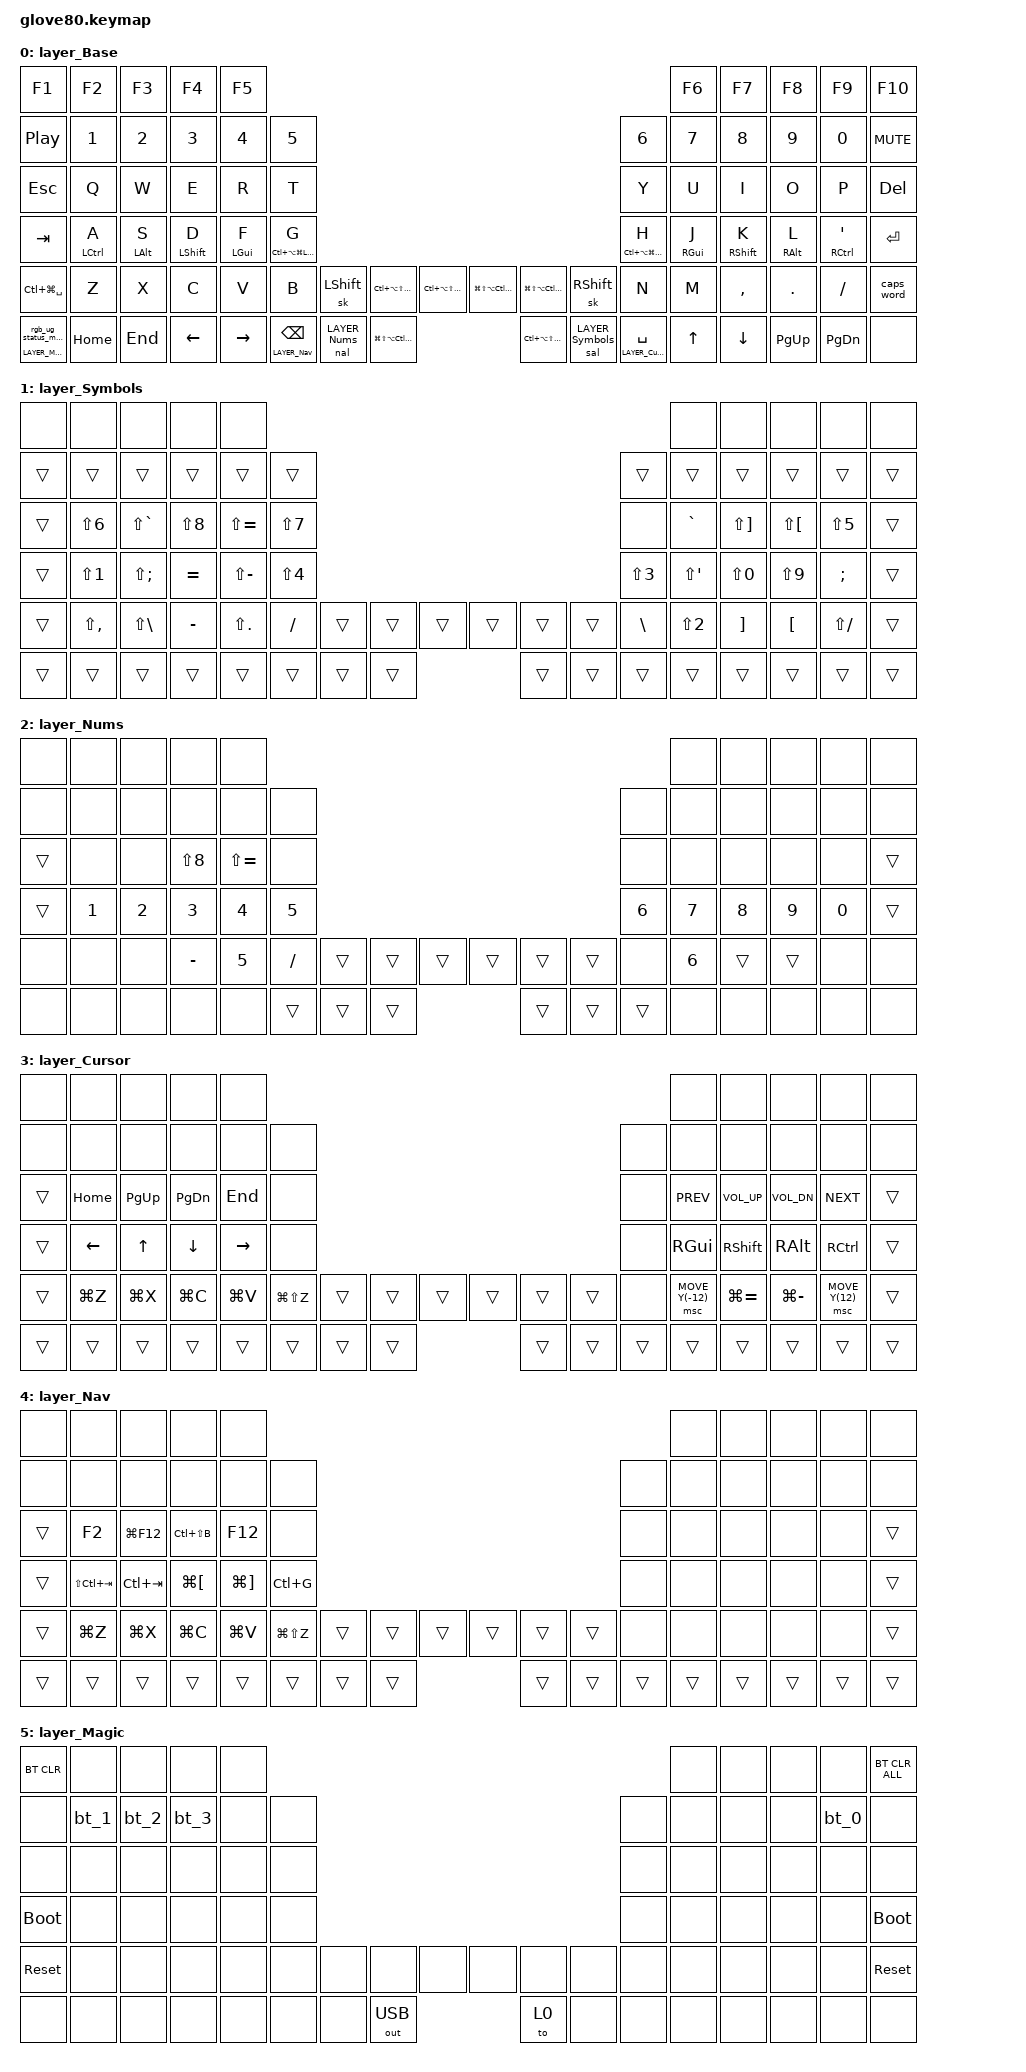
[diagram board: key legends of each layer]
/*
 * Copyright (c) 2020 The ZMK Contributors
 * Copyright (c) 2025 Innaworks Development Limited, trading as MoErgo
 *
 * SPDX-License-Identifier: MIT
 */


/* THIS FILE WAS GENERATED BY GLOVE80 LAYOUT EDITOR
 *
 * This file was generated automatically. You may or may not want to
 * edit it directly.
 */

#include <behaviors.dtsi>
/* Include all behavior includes needed */
#include <dt-bindings/zmk/outputs.h>
#include <dt-bindings/zmk/keys.h>
#include <dt-bindings/zmk/bt.h>
#include <dt-bindings/zmk/rgb.h>

/* On demand includes */
#include <dt-bindings/zmk/pointing.h>

/* Helper Macros, based on https://github.com/urob/zmk-helpers/ */

#pragma once

#define ZMK_HELPER_STRINGIFY(x) #x

// Preprocessor mechanism to overload macros, cf. https://stackoverflow.com/a/27051616/6114651
#define VARGS_(_10, _9, _8, _7, _6, _5, _4, _3, _2, _1, N, ...) N
#define VARGS(...) VARGS_(__VA_ARGS__, 10, 9, 8, 7, 6, 5, 4, 3, 2, 1, 0)
#define CONCAT_(a, b) a##b
#define CONCAT(a, b) CONCAT_(a, b)

#define ZMK_BEHAVIOR_CORE_tap_dance  \
    compatible = "zmk,behavior-tap-dance"; \
    #binding-cells = <0>

#define ZMK_BEHAVIOR(name, type, ...) \
    name: name { \
        ZMK_BEHAVIOR_CORE_ ## type; \
        __VA_ARGS__ \
    };

#define ZMK_TAP_DANCE(name, ...) \
    ZMK_BEHAVIOR(name, tap_dance, __VA_ARGS__)

#define ZMK_TD_LAYER(name, layer) \
    ZMK_TAP_DANCE(name, \
        tapping-term-ms = <200>; \
        bindings = <&mo layer>, <&to layer>; \
)

/* Environment and metadata defines */
#define KB_TYPE_GLOVE_80 1
#define KB_TYPE_GO_60    2

#define KB_TYPE          KB_TYPE_GLOVE_80
#define EDITOR_HOST_OS   'M'

/* Automatically generated layer name defines */
#define LAYER_Base 0
#define LAYER_Symbols 1
#define LAYER_Nums 2
#define LAYER_Cursor 3
#define LAYER_Nav 4
#define LAYER_Magic 5

/* To deal with the situation where there is no Lower layer, to keep &lower happy */
#ifndef LAYER_Lower
#define LAYER_Lower 0
#endif

/* Custom Device-tree */
&sl {
  release-after-ms = <200>;
};

&msc {
  x-input-code = <INPUT_REL_HWHEEL>;
  y-input-code = <INPUT_REL_WHEEL>;
  time-to-max-speed-ms = <0>;
  acceleration-exponent = <1>;
};

/* Input Listeners */


/* System behavior and Macros */
/ {
    behaviors {
        ZMK_TD_LAYER(lower, LAYER_Lower)
    };
};

/ {
    macros {
        rgb_ug_status_macro: rgb_ug_status_macro {
            label = "RGB_UG_STATUS";
            compatible = "zmk,behavior-macro";
            #binding-cells = <0>;
            bindings
                = <&rgb_ug RGB_STATUS>;
        };
    };
};


/ {
#ifdef BT_DISC_CMD
    behaviors {
        bt_0: bt_0 {
            compatible = "zmk,behavior-tap-dance";
            label = "BT_0";
            #binding-cells = <0>;
            tapping-term-ms = <200>;
            bindings = <&bt_select_0>, <&bt BT_DISC 0>;
        };
        bt_1: bt_1 {
            compatible = "zmk,behavior-tap-dance";
            label = "BT_1";
            #binding-cells = <0>;
            tapping-term-ms = <200>;
            bindings = <&bt_select_1>, <&bt BT_DISC 1>;
        };
        bt_2: bt_2 {
            compatible = "zmk,behavior-tap-dance";
            label = "BT_2";
            #binding-cells = <0>;
            tapping-term-ms = <200>;
            bindings = <&bt_select_2>, <&bt BT_DISC 2>;
        };
        bt_3: bt_3 {
            compatible = "zmk,behavior-tap-dance";
            label = "BT_3";
            #binding-cells = <0>;
            tapping-term-ms = <200>;
            bindings = <&bt_select_3>, <&bt BT_DISC 3>;
        };
    };
    macros {
        bt_select_0: bt_select_0 {
            label = "BT_SELECT_0";
            compatible = "zmk,behavior-macro";
            #binding-cells = <0>;
            bindings
                = <&out OUT_BLE>,
                  <&bt BT_SEL 0>;
        };
        bt_select_1: bt_select_1 {
            label = "BT_SELECT_1";
            compatible = "zmk,behavior-macro";
            #binding-cells = <0>;
            bindings
                = <&out OUT_BLE>,
                  <&bt BT_SEL 1>;
        };
        bt_select_2: bt_select_2 {
            label = "BT_SELECT_2";
            compatible = "zmk,behavior-macro";
            #binding-cells = <0>;
            bindings
                = <&out OUT_BLE>,
                  <&bt BT_SEL 2>;
        };
        bt_select_3: bt_select_3 {
            label = "BT_SELECT_3";
            compatible = "zmk,behavior-macro";
            #binding-cells = <0>;
            bindings
                = <&out OUT_BLE>,
                  <&bt BT_SEL 3>;
        };
    };
#else
    macros {
        bt_0: bt_0 {
            label = "BT_0";
            compatible = "zmk,behavior-macro";
            #binding-cells = <0>;
            bindings
                = <&out OUT_BLE>,
                  <&bt BT_SEL 0>;
        };
        bt_1: bt_1 {
            label = "BT_1";
            compatible = "zmk,behavior-macro";
            #binding-cells = <0>;
            bindings
                = <&out OUT_BLE>,
                  <&bt BT_SEL 1>;
        };
        bt_2: bt_2 {
            label = "BT_2";
            compatible = "zmk,behavior-macro";
            #binding-cells = <0>;
            bindings
                = <&out OUT_BLE>,
                  <&bt BT_SEL 2>;
        };
        bt_3: bt_3 {
            label = "BT_3";
            compatible = "zmk,behavior-macro";
            #binding-cells = <0>;
            bindings
                = <&out OUT_BLE>,
                  <&bt BT_SEL 3>;
        };
    };
#endif
};

/ {
    behaviors {
        magic: magic {
            compatible = "zmk,behavior-hold-tap";
            label = "MAGIC_HOLD_TAP";
            #binding-cells = <2>;
            flavor = "tap-preferred";
            tapping-term-ms = <200>;
            bindings = <&mo>, <&rgb_ug_status_macro>;
        };
    };
};


/* Key positions */

#define POS_LH_C6R1 0
#define POS_LH_C5R1 1
#define POS_LH_C4R1 2
#define POS_LH_C3R1 3
#define POS_LH_C2R1 4
#define POS_RH_C2R1 5
#define POS_RH_C3R1 6
#define POS_RH_C4R1 7
#define POS_RH_C5R1 8
#define POS_RH_C6R1 9
#define POS_LH_C6R2 10
#define POS_LH_C5R2 11
#define POS_LH_C4R2 12
#define POS_LH_C3R2 13
#define POS_LH_C2R2 14
#define POS_LH_C1R2 15
#define POS_RH_C1R2 16
#define POS_RH_C2R2 17
#define POS_RH_C3R2 18
#define POS_RH_C4R2 19
#define POS_RH_C5R2 20
#define POS_RH_C6R2 21
#define POS_LH_C6R3 22
#define POS_LH_C5R3 23
#define POS_LH_C4R3 24
#define POS_LH_C3R3 25
#define POS_LH_C2R3 26
#define POS_LH_C1R3 27
#define POS_RH_C1R3 28
#define POS_RH_C2R3 29
#define POS_RH_C3R3 30
#define POS_RH_C4R3 31
#define POS_RH_C5R3 32
#define POS_RH_C6R3 33
#define POS_LH_C6R4 34
#define POS_LH_C5R4 35
#define POS_LH_C4R4 36
#define POS_LH_C3R4 37
#define POS_LH_C2R4 38
#define POS_LH_C1R4 39
#define POS_RH_C1R4 40
#define POS_RH_C2R4 41
#define POS_RH_C3R4 42
#define POS_RH_C4R4 43
#define POS_RH_C5R4 44
#define POS_RH_C6R4 45
#define POS_LH_C6R5 46
#define POS_LH_C5R5 47
#define POS_LH_C4R5 48
#define POS_LH_C3R5 49
#define POS_LH_C2R5 50
#define POS_LH_C1R5 51
#define POS_LH_T1 52
#define POS_LH_T2 53
#define POS_LH_T3 54
#define POS_RH_T3 55
#define POS_RH_T2 56
#define POS_RH_T1 57
#define POS_RH_C1R5 58
#define POS_RH_C2R5 59
#define POS_RH_C3R5 60
#define POS_RH_C4R5 61
#define POS_RH_C5R5 62
#define POS_RH_C6R5 63
#define POS_LH_C6R6 64
#define POS_LH_C5R6 65
#define POS_LH_C4R6 66
#define POS_LH_C3R6 67
#define POS_LH_C2R6 68
#define POS_LH_T4 69
#define POS_LH_T5 70
#define POS_LH_T6 71
#define POS_RH_T6 72
#define POS_RH_T5 73
#define POS_RH_T4 74
#define POS_RH_C2R6 75
#define POS_RH_C3R6 76
#define POS_RH_C4R6 77
#define POS_RH_C5R6 78
#define POS_RH_C6R6 79


/* Custom Defined Behaviors */
/ {
behaviors {
        skq: sticky_key_quick_release {
          compatible = "zmk,behavior-sticky-key";
          #binding-cells = <1>;
          bindings = <&kp>;
          release-after-ms = <200>;
          quick-release;
          ignore-modifiers;
      };

        swc: shift_word_caps {
            compatible = "zmk,behavior-tap-dance";
            #binding-cells = <0>;
            tapping-term-ms = <300>;
            bindings = <&skq LSHFT>, <&caps_word>;
        };

        nal: nums_auto_layer {
            compatible = "zmk,behavior-auto-layer";
            label = "NUMS_AUTO_LAYER";
            #binding-cells = <1>;
            continue-list = <N0 N1 N2 N3 N4 N5 N6 N7 N8 N9 DOT COMMA PLUS MINUS STAR FSLH EQUAL>;
            ignore-modifiers;
        };

        sal: symbols_auto_layer {
            compatible = "zmk,behavior-auto-layer";
            label = "SYMBOLS_AUTO_LAYER";
            #binding-cells = <1>;
            continue-list = <CARET TILDE STAR PLUS AMPERSAND GRAVE RBKT LBKT PERCENT EXCL COLON EQUAL UNDERSCORE DOLLAR POUND DQT LPAR RPAR SEMI LT PIPE MINUS GT FSLH BSLH AT LBKT RBKT QMARK>;
            ignore-modifiers;
        };

    };
};

/* Generated input processors */


/* Automatically generated macro definitions */
/ {
    macros {

        // copy line
        cl: cl {
            label = "&CL";
            compatible = "zmk,behavior-macro";
            #binding-cells = <0>;
            tap-ms = <1>;
            wait-ms = <1>;
            bindings = <&kp LG(RIGHT)>
                , <&kp LG(LS(LEFT))>
                , <&kp LG(C)>;
        };

        // cut line
        xl: xl {
            label = "&XL";
            compatible = "zmk,behavior-macro";
            #binding-cells = <0>;
            tap-ms = <1>;
            wait-ms = <1>;
            bindings = <&kp LG(RIGHT)>
                , <&kp LG(LS(LEFT))>
                , <&kp LG(LS(LEFT))>
                , <&kp LG(X)>;
        };

        // paste on next line
        pnl: pnl {
            label = "&PNL";
            compatible = "zmk,behavior-macro";
            #binding-cells = <0>;
            tap-ms = <1>;
            wait-ms = <1>;
            bindings = <&kp LG(RIGHT)>
                , <&kp RET>
                , <&kp LG(V)>;
        };
    };
};

/* Automatically generated behavior definitions */
/ {
    behaviors {

        // Layer tap dance behaviors

        ZMK_TD_LAYER(td_LAYER_Symbols, 1)
        ZMK_TD_LAYER(td_LAYER_Nums, 2)

        // Home row mods on left hand
        hrml: hrml {
            compatible = "zmk,behavior-hold-tap";
            #binding-cells = <2>;
            tapping-term-ms = <300>;
            bindings = <&kp>, <&kp>;
            flavor = "balanced";
            quick-tap-ms = <200>;
            require-prior-idle-ms = <150>;
            hold-trigger-key-positions = <POS_RH_C2R1 POS_RH_C3R1 POS_RH_C4R1 POS_RH_C5R1 POS_RH_C6R1 POS_RH_C6R2 POS_RH_C5R2 POS_RH_C4R2 POS_RH_C3R2 POS_RH_C1R2 POS_RH_C2R2 POS_RH_C1R3 POS_RH_C2R3 POS_RH_C3R3 POS_RH_C3R4 POS_RH_C2R4 POS_RH_C1R4 POS_RH_C1R5 POS_RH_T1 POS_RH_T2 POS_RH_T3 POS_RH_T6 POS_RH_T5 POS_RH_T4 POS_RH_C2R6 POS_RH_C3R6 POS_RH_C4R6 POS_RH_C5R6 POS_RH_C6R6 POS_RH_C6R5 POS_RH_C6R4 POS_RH_C6R3 POS_RH_C5R3 POS_RH_C4R3 POS_RH_C4R4 POS_RH_C5R4 POS_RH_C5R5 POS_RH_C4R5 POS_RH_C3R5 POS_RH_C2R5>;
            hold-trigger-on-release;
        };

        // Home row mods on right hand
        hrmr: hrmr {
            compatible = "zmk,behavior-hold-tap";
            #binding-cells = <2>;
            tapping-term-ms = <300>;
            bindings = <&kp>, <&kp>;
            flavor = "balanced";
            quick-tap-ms = <200>;
            require-prior-idle-ms = <150>;
            hold-while-undecided;
            hold-trigger-key-positions = <POS_LH_C6R1 POS_LH_C5R1 POS_LH_C4R1 POS_LH_C3R1 POS_LH_C2R1 POS_LH_C1R2 POS_LH_C2R2 POS_LH_C3R2 POS_LH_C4R2 POS_LH_C5R2 POS_LH_C6R2 POS_LH_C6R3 POS_LH_C5R3 POS_LH_C5R4 POS_LH_C6R4 POS_LH_C6R5 POS_LH_C5R5 POS_LH_C5R6 POS_LH_C6R6 POS_LH_C4R6 POS_LH_C3R6 POS_LH_C2R6 POS_LH_C1R5 POS_LH_C2R5 POS_LH_C3R5 POS_LH_C4R5 POS_LH_C4R4 POS_LH_C4R3 POS_LH_C3R3 POS_LH_C2R3 POS_LH_C1R3 POS_LH_C1R4 POS_LH_C2R4 POS_LH_C3R4 POS_LH_T1 POS_LH_T2 POS_LH_T3 POS_LH_T6 POS_LH_T5 POS_LH_T4>;
            hold-trigger-on-release;
        };

        // thumb nav layer hold
        tnh: tnh {
            compatible = "zmk,behavior-hold-tap";
            #binding-cells = <2>;
            tapping-term-ms = <180>;
            bindings = <&mo>, <&kp>;
            flavor = "balanced";
            quick-tap-ms = <250>;
            require-prior-idle-ms = <80>;
            hold-while-undecided;
            hold-trigger-on-release;
        };

        // thumb symbol layer hold
        tsh: tsh {
            compatible = "zmk,behavior-hold-tap";
            #binding-cells = <2>;
            tapping-term-ms = <180>;
            bindings = <&mo>, <&kp>;
            flavor = "balanced";
            quick-tap-ms = <250>;
            hold-while-undecided;
            hold-trigger-on-release;
        };

        // home row layers on left hand
        hrll: hrll {
            compatible = "zmk,behavior-hold-tap";
            #binding-cells = <2>;
            tapping-term-ms = <300>;
            bindings = <&mo>, <&kp>;
            flavor = "balanced";
            quick-tap-ms = <200>;
            require-prior-idle-ms = <150>;
            hold-while-undecided;
            hold-trigger-key-positions = <POS_RH_C2R1 POS_RH_C3R1 POS_RH_C4R1 POS_RH_C5R1 POS_RH_C6R1 POS_RH_C6R2 POS_RH_C5R2 POS_RH_C4R2 POS_RH_C3R2 POS_RH_C1R2 POS_RH_C2R2 POS_RH_C1R3 POS_RH_C2R3 POS_RH_C3R3 POS_RH_C3R4 POS_RH_C2R4 POS_RH_C1R4 POS_RH_C1R5 POS_RH_T1 POS_RH_T2 POS_RH_T3 POS_RH_T6 POS_RH_T5 POS_RH_T4 POS_RH_C2R6 POS_RH_C3R6 POS_RH_C4R6 POS_RH_C5R6 POS_RH_C6R6 POS_RH_C6R5 POS_RH_C6R4 POS_RH_C6R3 POS_RH_C5R3 POS_RH_C4R3 POS_RH_C4R4 POS_RH_C5R4 POS_RH_C5R5 POS_RH_C4R5 POS_RH_C3R5 POS_RH_C2R5>;
            hold-trigger-on-release;
        };

        // home row layers on right hand
        hrlr: hrlr {
            compatible = "zmk,behavior-hold-tap";
            #binding-cells = <2>;
            tapping-term-ms = <300>;
            bindings = <&mo>, <&kp>;
            flavor = "balanced";
            quick-tap-ms = <200>;
            require-prior-idle-ms = <150>;
            hold-while-undecided;
            hold-trigger-key-positions = <POS_LH_C6R1 POS_LH_C5R1 POS_LH_C4R1 POS_LH_C3R1 POS_LH_C2R1 POS_LH_C1R2 POS_LH_C2R2 POS_LH_C3R2 POS_LH_C4R2 POS_LH_C5R2 POS_LH_C6R2 POS_LH_C6R3 POS_LH_C5R3 POS_LH_C5R4 POS_LH_C6R4 POS_LH_C6R5 POS_LH_C5R5 POS_LH_C5R6 POS_LH_C6R6 POS_LH_C4R6 POS_LH_C3R6 POS_LH_C2R6 POS_LH_C1R5 POS_LH_C2R5 POS_LH_C3R5 POS_LH_C4R5 POS_LH_C4R4 POS_LH_C4R3 POS_LH_C3R3 POS_LH_C2R3 POS_LH_C1R3 POS_LH_C1R4 POS_LH_C2R4 POS_LH_C3R4 POS_LH_T1 POS_LH_T2 POS_LH_T3 POS_LH_T6 POS_LH_T5 POS_LH_T4>;
            hold-trigger-on-release;
        };
    };
};

/* Automatically generated combos definitions */


/* Automatically generated keymap */
/ {
    keymap {
        compatible = "zmk,keymap";


        layer_Base {
            bindings = <
               &kp F1         &kp F2        &kp F3         &kp F4        &kp F5                                                                                                                                                                                                                        &kp F6         &kp F7        &kp F8           &kp F9     &kp F10
             &kp C_PP         &kp N1        &kp N2         &kp N3        &kp N4                     &kp N5                                                                                                                                                                               &kp N6        &kp N7         &kp N8        &kp N9           &kp N0  &kp C_MUTE
              &kp ESC          &kp Q         &kp W          &kp E         &kp R                      &kp T                                                                                                                                                                                &kp Y         &kp U          &kp I         &kp O            &kp P     &kp DEL
              &kp TAB  &hrml LCTRL A  &hrml LALT S  &hrml LSHFT D  &hrml LGUI F  &hrml LC(LA(LG(LSHFT))) G                                                                                                                                                            &hrmr LC(LA(LG(RSHFT))) H  &hrmr RGUI J  &hrmr RSHFT K  &hrmr RALT L  &hrmr RCTRL SQT     &kp RET
    &kp LC(LG(SPACE))          &kp Z         &kp X          &kp C         &kp V                      &kp B            &sk LSHFT  &kp LC(LA(LS(LG(KP_N3))))  &kp LC(LA(LS(LG(KP_N2))))  &kp LG(LS(LA(LC(KP_N5))))  &kp LG(LS(LA(LC(KP_N6))))                &sk RSHFT                      &kp N         &kp M      &kp COMMA       &kp DOT         &kp FSLH  &caps_word
 &magic LAYER_Magic 0       &kp HOME       &kp END       &kp LEFT     &kp RIGHT                             &tnh LAYER_Nav BSPC             &nal LAYER_Nums  &kp LG(LS(LA(LC(KP_N1))))  &kp LC(LA(LS(LG(KP_N4))))          &sal LAYER_Symbols  &tnh LAYER_Cursor SPACE                                   &kp UP       &kp DOWN     &kp PG_UP        &kp PG_DN       &none
            >;
        };

        layer_Symbols {
            bindings = <
  &none          &none          &none       &none          &none                                                                                         &none         &none         &none         &none   &none
 &trans         &trans         &trans      &trans         &trans      &trans                                                      &trans                &trans        &trans        &trans        &trans  &trans
 &trans     &kp LS(N6)  &kp LS(GRAVE)  &kp LS(N8)  &kp LS(EQUAL)  &kp LS(N7)                                                       &none             &kp GRAVE  &kp LS(RBKT)  &kp LS(LBKT)    &kp LS(N5)  &trans
 &trans     &kp LS(N1)   &kp LS(SEMI)   &kp EQUAL  &kp LS(MINUS)  &kp LS(N4)                                                  &kp LS(N3)  &kp LS(SINGLE_QUOTE)    &kp LS(N0)    &kp LS(N9)      &kp SEMI  &trans
 &trans  &kp LS(COMMA)   &kp LS(BSLH)   &kp MINUS    &kp LS(DOT)    &kp FSLH  &trans  &trans  &trans  &trans  &trans  &trans    &kp BSLH            &kp LS(N2)      &kp RBKT      &kp LBKT  &kp LS(FSLH)  &trans
 &trans         &trans         &trans      &trans         &trans              &trans  &trans  &trans  &trans  &trans  &trans                            &trans        &trans        &trans        &trans  &trans
            >;
        };

        layer_Nums {
            bindings = <
  &none   &none   &none       &none          &none                                                                     &none   &none   &none   &none   &none
  &none   &none   &none       &none          &none     &none                                                   &none   &none   &none   &none   &none   &none
 &trans   &none   &none  &kp LS(N8)  &kp LS(EQUAL)     &none                                                   &none   &none   &none   &none   &none  &trans
 &trans  &kp N1  &kp N2      &kp N3         &kp N4    &kp N5                                                  &kp N6  &kp N7  &kp N8  &kp N9  &kp N0  &trans
  &none   &none   &none   &kp MINUS         &kp N5  &kp FSLH  &trans  &trans  &trans  &trans  &trans  &trans   &none  &kp N6  &trans  &trans   &none   &none
  &none   &none   &none       &none          &none            &trans  &trans  &trans  &trans  &trans  &trans           &none   &none   &none   &none   &none
            >;
        };

        layer_Cursor {
            bindings = <
  &none      &none      &none      &none      &none                                                                                    &none          &none          &none            &none   &none
  &none      &none      &none      &none      &none          &none                                                   &none             &none          &none          &none            &none   &none
 &trans   &kp HOME  &kp PG_UP  &kp PG_DN    &kp END          &none                                                   &none        &kp C_PREV   &kp C_VOL_UP   &kp C_VOL_DN       &kp C_NEXT  &trans
 &trans   &kp LEFT     &kp UP   &kp DOWN  &kp RIGHT          &none                                                   &none          &kp RGUI      &kp RSHFT       &kp RALT        &kp RCTRL  &trans
 &trans  &kp LG(Z)  &kp LG(X)  &kp LG(C)  &kp LG(V)  &kp LG(LS(Z))  &trans  &trans  &trans  &trans  &trans  &trans   &none  &msc MOVE_Y(-12)  &kp LG(EQUAL)  &kp LG(MINUS)  &msc MOVE_Y(12)  &trans
 &trans     &trans     &trans     &trans     &trans                 &trans  &trans  &trans  &trans  &trans  &trans                    &trans         &trans         &trans           &trans  &trans
            >;
        };

        layer_Nav {
            bindings = <
  &none            &none        &none          &none         &none                                                                          &none   &none   &none   &none   &none
  &none            &none        &none          &none         &none          &none                                                   &none   &none   &none   &none   &none   &none
 &trans           &kp F2  &kp LG(F12)  &kp LC(LS(B))       &kp F12          &none                                                   &none   &none   &none   &none   &none  &trans
 &trans  &kp LS(LC(TAB))  &kp LC(TAB)   &kp LG(LBKT)  &kp LG(RBKT)      &kp LC(G)                                                   &none   &none   &none   &none   &none  &trans
 &trans        &kp LG(Z)    &kp LG(X)      &kp LG(C)     &kp LG(V)  &kp LG(LS(Z))  &trans  &trans  &trans  &trans  &trans  &trans   &none   &none   &none   &none   &none  &trans
 &trans           &trans       &trans         &trans        &trans                 &trans  &trans  &trans  &trans  &trans  &trans          &trans  &trans  &trans  &trans  &trans
            >;
        };

        layer_Magic {
            bindings = <
  &bt BT_CLR   &none   &none   &none   &none                                                                         &none   &none   &none   &none  &bt BT_CLR_ALL
       &none   &bt_1   &bt_2   &bt_3   &none   &none                                                         &none   &none   &none   &none   &bt_0           &none
       &none   &none   &none   &none   &none   &none                                                         &none   &none   &none   &none   &none           &none
 &bootloader   &none   &none   &none   &none   &none                                                         &none   &none   &none   &none   &none     &bootloader
  &sys_reset   &none   &none   &none   &none   &none   &none   &none         &none   &none   &none   &none   &none   &none   &none   &none   &none      &sys_reset
       &none   &none   &none   &none   &none           &none   &none  &out OUT_USB   &to 0   &none   &none           &none   &none   &none   &none           &none
            >;
        };

    };
};
